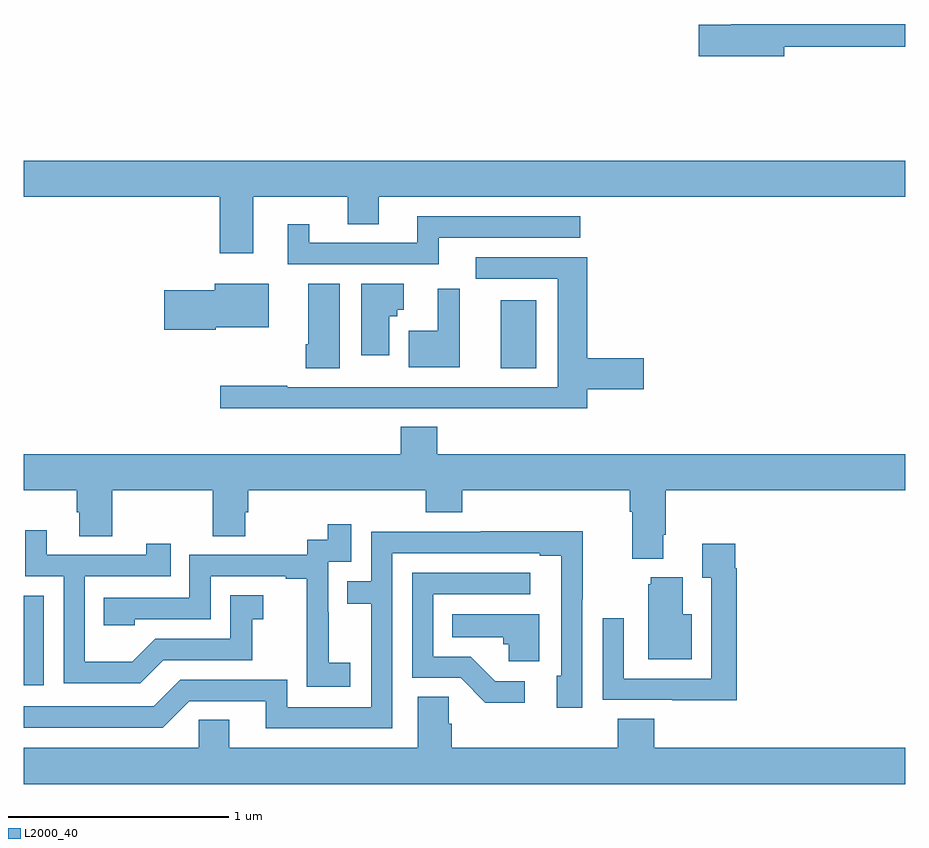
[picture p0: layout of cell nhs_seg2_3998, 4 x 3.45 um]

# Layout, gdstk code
import gdstk
lib = gdstk.Library(unit=1e-6, precision=1e-09)
def R(c, l, rs):  # rectangles x0, y0, x1, y1
    for r in rs: c.add(gdstk.rectangle(r[:2], r[2:], *l))
def P(c, l, *ps):  # polygons
    for p in ps: c.add(gdstk.Polygon(p, *l))
L2000_40 = (2000, 40)

nhs_seg2_3998 = lib.new_cell('nhs_seg2_3998')
R(nhs_seg2_3998, L2000_40, [(325,598.8,325.092,599.205), (327.164,600.238,327.325,600.547)])
P(nhs_seg2_3998, L2000_40, [(328.45,601.696),(329,601.696),(329,601.8),(328.211,601.8),(328.211,601.796),(328.062,601.796),(328.062,601.654),(328.45,601.654)],
  [(326.041,601.016),(326.471,601.016),(326.471,600.892),(326.611,600.892),(326.611,601.016),(329,601.016),(329,601.18),(325,601.18),(325,601.016),(325.889,601.016),(325.889,600.759),(326.041,600.759)],
  [(326.884,600.831),(327.526,600.831),(327.526,600.927),(326.786,600.927),(326.786,600.807),(326.296,600.807),(326.296,600.892),(326.198,600.892),(326.198,600.711),(326.884,600.711)],
  [(326.627,600.057),(326.959,600.057),(326.959,600.056),(327.557,600.056),(327.557,600.142),(327.814,600.142),(327.814,600.284),(327.557,600.284),(327.557,600.741),(327.051,600.741),(327.051,600.645),(327.422,600.645),(327.422,600.153),(326.195,600.153),(326.195,600.158),(325.893,600.158),(325.893,600.056),(326.627,600.056)],
  [(326.434,600.622),(326.291,600.622),(326.291,600.346),(326.279,600.346),(326.279,600.238),(326.434,600.238)],
  [(325.872,600.425),(326.113,600.425),(326.113,600.622),(325.868,600.622),(325.868,600.591),(325.638,600.591),(325.638,600.413),(325.872,600.413)],
  [(326.659,600.475),(326.694,600.475),(326.694,600.503),(326.725,600.503),(326.725,600.622),(326.531,600.622),(326.531,600.297),(326.659,600.297)],
  [(326.978,600.598),(326.879,600.598),(326.879,600.408),(326.748,600.408),(326.748,600.242),(326.978,600.242)],
  [(326.876,599.972),(326.711,599.972),(326.711,599.848),(325,599.848),(325,599.684),(325.241,599.684),(325.241,599.586),(325.253,599.586),(325.253,599.476),(325.401,599.476),(325.401,599.684),(325.858,599.684),(325.858,599.476),(326.005,599.476),(326.005,599.586),(326.018,599.586),(326.018,599.684),(326.825,599.684),(326.825,599.585),(326.99,599.585),(326.99,599.684),(327.749,599.684),(327.749,599.588),(327.761,599.588),(327.761,599.375),(327.901,599.375),(327.901,599.482),(327.914,599.482),(327.914,599.684),(329,599.684),(329,599.848),(326.876,599.848)],
  [(326.482,598.903),(326.384,598.903),(326.384,599.132),(326.382,599.132),(326.382,599.361),(326.487,599.361),(326.487,599.53),(326.379,599.53),(326.379,599.46),(326.286,599.46),(326.286,599.391),(325.752,599.391),(325.752,599.196),(325.363,599.196),(325.363,599.073),(325.503,599.073),(325.503,599.1),(325.848,599.1),(325.848,599.295),(326.189,599.295),(326.189,599.283),(326.285,599.283),(326.285,598.999),(326.284,598.999),(326.284,598.793),(326.482,598.793)],
  [(325.633,598.914),(326.037,598.914),(326.037,599.099),(326.086,599.099),(326.086,599.209),(325.938,599.209),(325.938,599.01),(325.596,599.01),(325.492,598.906),(325.278,598.906),(325.278,599.295),(325.667,599.295),(325.667,599.443),(325.556,599.443),(325.556,599.391),(325.105,599.391),(325.105,599.503),(325.008,599.503),(325.008,599.295),(325.182,599.295),(325.182,598.809),(325.528,598.809)],
  [(326.673,599.4),(327.341,599.4),(327.341,599.388),(327.438,599.388),(327.438,598.842),(327.419,598.842),(327.419,598.698),(327.534,598.698),(327.534,599.191),(327.537,599.191),(327.537,599.498),(327.073,599.498),(327.073,599.496),(326.577,599.496),(326.577,599.271),(326.467,599.271),(326.467,599.17),(326.577,599.17),(326.577,598.701),(326.196,598.701),(326.196,598.824),(325.71,598.824),(325.59,598.704),(325,598.704),(325,598.608),(325.632,598.608),(325.752,598.728),(326.099,598.728),(326.099,598.605),(326.673,598.605)],
  [(328.235,599.33),(328.228,599.33),(328.228,599.443),(328.079,599.443),(328.079,599.287),(328.119,599.287),(328.119,598.83),(327.723,598.83),(327.723,599.104),(327.627,599.104),(327.627,598.734),(327.943,598.734),(327.943,598.733),(328.235,598.733)],
  [(327.274,598.818),(327.139,598.818),(327.028,598.929),(326.859,598.929),(326.859,599.214),(327.298,599.214),(327.298,599.31),(326.763,599.31),(326.763,598.833),(326.982,598.833),(327.095,598.721),(327.274,598.721)],
  [(328.03,599.122),(327.991,599.122),(327.991,599.29),(327.845,599.29),(327.845,599.259),(327.833,599.259),(327.833,598.919),(328.03,598.919)],
  [(327.34,599.122),(326.944,599.122),(326.944,599.018),(327.175,599.018),(327.175,598.986),(327.201,598.986),(327.201,598.91),(327.34,598.91)],
  [(329,598.516),(327.86,598.516),(327.86,598.649),(327.695,598.649),(327.695,598.516),(326.942,598.516),(326.942,598.625),(326.928,598.625),(326.928,598.748),(326.789,598.748),(326.789,598.516),(325.933,598.516),(325.933,598.643),(325.794,598.643),(325.794,598.516),(325,598.516),(325,598.352),(329,598.352)])

lib.write_gds('nhs_seg2_3998.gds')
